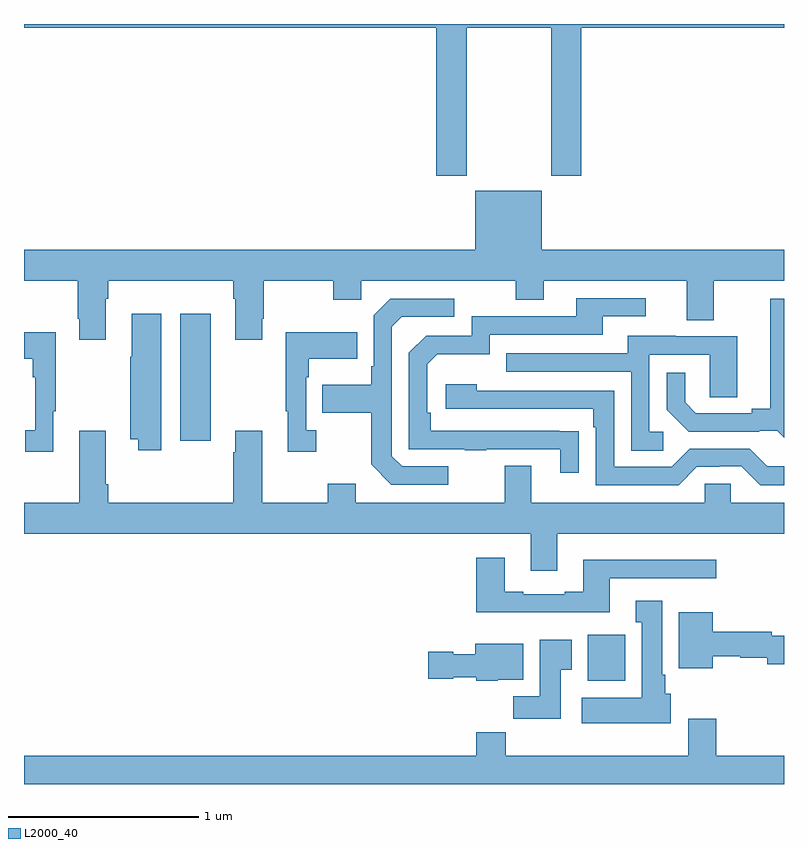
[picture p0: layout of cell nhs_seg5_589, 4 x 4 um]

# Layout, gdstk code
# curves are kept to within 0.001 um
import gdstk
lib = gdstk.Library(unit=1e-6, precision=1e-09)
def R(c, l, rs):  # rectangles x0, y0, x1, y1
    for r in rs: c.add(gdstk.rectangle(r[:2], r[2:], *l))
def P(c, l, *ps):  # polygons
    for p in ps: c.add(gdstk.Polygon(p, *l))
L2000_40 = (2000, 40)

nhs_seg5_589 = lib.new_cell('nhs_seg5_589')
R(nhs_seg5_589, L2000_40, [(151.967,833.342,152.164,833.584), (149.822,834.606,149.983,835.273)])
P(nhs_seg5_589, L2000_40, [(151.329,836.78),(151.774,836.78),(151.774,836.001),(151.934,836.001),(151.934,836.78),(153,836.78),(153,836.799),(149,836.799),(149,836.78),(151.169,836.78),(151.169,836.001),(151.329,836.001)],
  [(149.431,835.352),(149.444,835.352),(149.444,835.448),(150.101,835.448),(150.101,835.352),(150.113,835.352),(150.113,835.137),(150.253,835.137),(150.253,835.249),(150.261,835.249),(150.261,835.448),(150.628,835.448),(150.628,835.349),(150.774,835.349),(150.774,835.448),(151.588,835.448),(151.588,835.349),(151.735,835.349),(151.735,835.448),(152.489,835.448),(152.489,835.24),(152.629,835.24),(152.629,835.448),(153,835.448),(153,835.612),(151.726,835.612),(151.726,835.921),(151.376,835.921),(151.376,835.612),(149,835.612),(149,835.448),(149.284,835.448),(149.284,835.249),(149.291,835.249),(149.291,835.137),(149.431,835.137)],
  [(151.919,834.656),(151.142,834.657),(151.142,834.754),(151.122,834.754),(151.122,835.008),(151.175,835.061),(151.452,835.061),(151.452,835.164),(152.047,835.164),(152.047,835.26),(152.272,835.26),(152.272,835.356),(151.907,835.356),(151.907,835.26),(151.356,835.26),(151.356,835.158),(151.116,835.158),(151.026,835.068),(151.026,834.561),(151.321,834.561),(151.321,834.556),(151.433,834.556),(151.433,834.561),(151.823,834.561),(151.823,834.438),(151.919,834.438)],
  [(151.234,834.471),(150.99,834.471),(150.936,834.525),(150.936,835.206),(150.987,835.257),(151.264,835.257),(151.264,835.353),(150.927,835.353),(150.84,835.266),(150.84,834.997),(150.828,834.997),(150.828,834.901),(150.571,834.901),(150.571,834.754),(150.828,834.754),(150.828,834.481),(150.933,834.375),(151.234,834.375)],
  [(153,835.353),(152.927,835.353),(152.927,834.773),(152.831,834.773),(152.831,834.75),(152.536,834.75),(152.479,834.807),(152.479,834.964),(152.382,834.964),(152.382,834.77),(152.498,834.654),(152.87,834.654),(152.87,834.657),(152.964,834.657),(153,834.621)],
  [(149.722,835.273),(149.567,835.273),(149.567,835.049),(149.56,835.049),(149.56,834.614),(149.6,834.614),(149.6,834.555),(149.722,834.555)],
  [(149.155,834.761),(149.167,834.761),(149.167,835.177),(149,835.177),(149,835.037),(149.046,835.037),(149.046,834.941),(149.058,834.941),(149.058,834.662),(149.007,834.662),(149.007,834.549),(149.155,834.549)],
  [(150.538,834.662),(150.486,834.662),(150.486,834.941),(150.499,834.941),(150.499,835.037),(150.755,835.037),(150.755,835.177),(150.378,835.177),(150.378,834.761),(150.389,834.761),(150.389,834.549),(150.538,834.549)],
  [(152.365,834.654),(152.292,834.654),(152.292,835.059),(152.61,835.059),(152.61,834.835),(152.755,834.835),(152.755,835.155),(152.431,835.155),(152.431,835.159),(152.177,835.159),(152.177,835.065),(151.537,835.065),(151.537,834.969),(152.196,834.969),(152.196,834.553),(152.365,834.553)],
  [(153,834.471),(152.913,834.471),(152.82,834.564),(152.505,834.564),(152.409,834.468),(152.106,834.468),(152.106,834.87),(151.382,834.87),(151.382,834.904),(151.221,834.904),(151.221,834.774),(151.997,834.774),(151.997,834.677),(152.01,834.677),(152.01,834.372),(152.445,834.372),(152.541,834.468),(152.66,834.468),(152.66,834.471),(152.775,834.471),(152.875,834.371),(153,834.371)],
  [(151.807,834.116),(153,834.116),(153,834.28),(152.721,834.28),(152.721,834.378),(152.583,834.378),(152.583,834.28),(151.669,834.28),(151.669,834.475),(151.529,834.475),(151.529,834.28),(150.745,834.28),(150.745,834.379),(150.598,834.379),(150.598,834.28),(150.253,834.28),(150.253,834.658),(150.113,834.658),(150.113,834.545),(150.101,834.545),(150.101,834.28),(149.444,834.28),(149.444,834.376),(149.431,834.376),(149.431,834.658),(149.291,834.658),(149.291,834.28),(149,834.28),(149,834.116),(151.667,834.116),(151.667,833.922),(151.807,833.922)],
  [(152.083,833.883),(152.644,833.883),(152.644,833.98),(151.943,833.98),(151.943,833.812),(151.847,833.812),(151.847,833.799),(151.627,833.799),(151.627,833.812),(151.531,833.812),(151.531,833.989),(151.379,833.989),(151.379,833.702),(152.083,833.702)],
  [(152.404,833.274),(152.374,833.274),(152.374,833.374),(152.359,833.374),(152.359,833.764),(152.219,833.764),(152.219,833.651),(152.252,833.651),(152.252,833.254),(151.935,833.254),(151.935,833.12),(152.404,833.12)],
  [(152.626,833.472),(152.769,833.472),(152.769,833.464),(152.912,833.464),(152.912,833.429),(153,833.429),(153,833.58),(152.936,833.58),(152.936,833.6),(152.626,833.6),(152.626,833.704),(152.447,833.704),(152.447,833.408),(152.626,833.408)],
  [(151.825,833.401),(151.882,833.401),(151.882,833.557),(151.715,833.557),(151.715,833.26),(151.576,833.26),(151.576,833.142),(151.825,833.142)],
  [(151.494,833.348),(151.627,833.348),(151.627,833.536),(151.376,833.536),(151.376,833.482),(151.26,833.482),(151.26,833.495),(151.128,833.495),(151.128,833.353),(151.26,833.353),(151.26,833.36),(151.38,833.36),(151.38,833.342),(151.494,833.342)],
  [(153,832.948),(152.643,832.948),(152.643,833.143),(152.495,833.143),(152.495,832.948),(151.535,832.948),(151.535,833.072),(151.379,833.072),(151.379,832.948),(149,832.948),(149,832.799),(153,832.799)])

lib.write_gds('nhs_seg5_589.gds')
